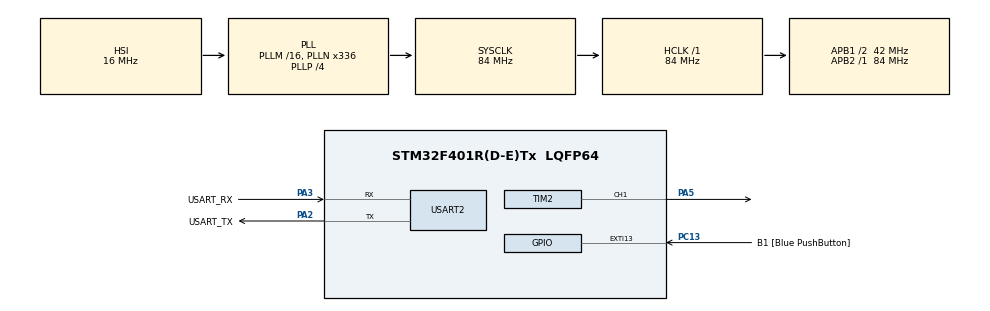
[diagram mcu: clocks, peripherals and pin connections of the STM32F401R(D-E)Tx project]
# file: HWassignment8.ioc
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Mcu.Family=STM32F4
Mcu.Name=STM32F401R(D-E)Tx
Mcu.Package=LQFP64
NVIC.PriorityGroup=NVIC_PRIORITYGROUP_0
PA13.GPIO_Label=TMS
PA13.Mode=Serial_Wire
PA13.Signal=SYS_JTMS-SWDIO
PA14.GPIO_Label=TCK
PA14.Mode=Serial_Wire
PA14.Signal=SYS_JTCK-SWCLK
PA2.GPIO_Label=USART_TX
PA2.GPIO_Mode=GPIO_MODE_AF_PP
PA2.GPIO_PuPd=GPIO_NOPULL
PA2.GPIO_Speed=GPIO_SPEED_FREQ_LOW
PA2.Mode=Asynchronous
PA2.Signal=USART2_TX
PA3.GPIO_Label=USART_RX
PA3.GPIO_Mode=GPIO_MODE_AF_PP
PA3.GPIO_PuPd=GPIO_NOPULL
PA3.GPIO_Speed=GPIO_SPEED_FREQ_LOW
PA3.Mode=Asynchronous
PA3.Signal=USART2_RX
PA5.Signal=S_TIM2_CH1_ETR
PB3.GPIO_Label=SWO
PB3.Signal=SYS_JTDO-SWO
PC13-ANTI_TAMP.GPIO_Label=B1 [Blue PushButton]
PC13-ANTI_TAMP.GPIO_ModeDefaultEXTI=GPIO_MODE_IT_FALLING
PC13-ANTI_TAMP.GPIO_PuPd=GPIO_NOPULL
PC13-ANTI_TAMP.Signal=GPXTI13
PC14-OSC32_IN.Mode=LSE-External-Oscillator
PC14-OSC32_IN.Signal=RCC_OSC32_IN
PC15-OSC32_OUT.Mode=LSE-External-Oscillator
PC15-OSC32_OUT.Signal=RCC_OSC32_OUT
PH0\ -\ OSC_IN.Mode=HSE-External-Clock-Source
PH0\ -\ OSC_IN.Signal=RCC_OSC_IN
PH1\ -\ OSC_OUT.Mode=HSE-External-Clock-Source
PH1\ -\ OSC_OUT.Signal=RCC_OSC_OUT
ProjectManager.HeapSize=0x200
ProjectManager.StackSize=0x400
ProjectManager.TargetToolchain=EWARM V8.32
RCC.48MHZClocksFreq_Value=48000000
RCC.AHBFreq_Value=84000000
RCC.APB1CLKDivider=RCC_HCLK_DIV2
RCC.APB1Freq_Value=42000000
RCC.APB1TimFreq_Value=84000000
RCC.APB2Freq_Value=84000000
RCC.APB2TimFreq_Value=84000000
RCC.CortexFreq_Value=84000000
RCC.HCLKFreq_Value=84000000
RCC.HSE_VALUE=8000000
RCC.HSI_VALUE=16000000
RCC.PLLN=336
RCC.PLLP=RCC_PLLP_DIV4
RCC.PLLQ=7
RCC.SYSCLKFreq_VALUE=84000000
RCC.SYSCLKSource=RCC_SYSCLKSOURCE_PLLCLK
RCC.VCOOutputFreq_Value=336000000
SH.S_TIM2_CH1_ETR.0=TIM2_CH1,PWM Generation1 CH1
TIM2.Channel-PWM\ Generation1\ CH1=TIM_CHANNEL_1
TIM2.Period=2000-1
TIM2.Prescaler=1060-1
TIM4.Period=2000-1
TIM4.Prescaler=1080-1
USART2.VirtualMode=VM_ASYNC
VP_TIM4_VS_OPM.Mode=OPM_bit
board=NUCLEO-F401RE

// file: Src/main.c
/* USER CODE BEGIN Header */
/**
  ******************************************************************************
  * @file           : main.c
  * @brief          : Main program body
  ******************************************************************************
  * @attention
  *
  * <h2><center>&copy; Copyright (c) 2019 STMicroelectronics.
  * All rights reserved.</center></h2>
  *
  * This software component is licensed by ST under BSD 3-Clause license,
  * the "License"; You may not use this file except in compliance with the
  * License. You may obtain a copy of the License at:
  *                        opensource.org/licenses/BSD-3-Clause
  *
  ******************************************************************************
  */
/* USER CODE END Header */

#include "main.h"

TIM_HandleTypeDef htim2;
TIM_HandleTypeDef htim4;

UART_HandleTypeDef huart2;

void SystemClock_Config(void);
static void MX_GPIO_Init(void);
static void MX_TIM4_Init(void);
static void MX_USART2_UART_Init(void);
static void MX_TIM2_Init(void);
/* USER CODE BEGIN PFP */
void user_pwm_setvalue(uint16_t value);
/* USER CODE END PFP */

int main(void)
{

  /* MCU Configuration--------------------------------------------------------*/

  /* Reset of all peripherals, Initializes the Flash interface and the Systick. */
  HAL_Init();

  /* USER CODE BEGIN Init */
    int pwm_value = 0;
    int step = 0;
  /* USER CODE END Init */

  /* Configure the system clock */
  SystemClock_Config();

  /* Initialize all configured peripherals */
  MX_GPIO_Init();
  MX_TIM4_Init();
  MX_USART2_UART_Init();
  MX_TIM2_Init();
  /* USER CODE BEGIN 2 */
  HAL_TIM_PWM_Start(&htim2, TIM_CHANNEL_1);
  /* USER CODE END 2 */

  /* Infinite loop */
  while (1)
  {

    /* USER CODE BEGIN 3 */
        HAL_Delay(100);
        if(pwm_value == 0) step = 100;
        if(pwm_value == 2000) step = -100;
        pwm_value += step;
        user_pwm_setvalue(pwm_value);
    }
  /* USER CODE END 3 */
}

void SystemClock_Config(void)
{
  RCC_OscInitTypeDef RCC_OscInitStruct = {0};
  RCC_ClkInitTypeDef RCC_ClkInitStruct = {0};

  /** Configure the main internal regulator output voltage
  */
  __HAL_RCC_PWR_CLK_ENABLE();
  __HAL_PWR_VOLTAGESCALING_CONFIG(PWR_REGULATOR_VOLTAGE_SCALE2);
  /** Initializes the CPU, AHB and APB busses clocks
  */
  RCC_OscInitStruct.OscillatorType = RCC_OSCILLATORTYPE_HSI;
  RCC_OscInitStruct.HSIState = RCC_HSI_ON;
  RCC_OscInitStruct.HSICalibrationValue = RCC_HSICALIBRATION_DEFAULT;
  RCC_OscInitStruct.PLL.PLLState = RCC_PLL_ON;
  RCC_OscInitStruct.PLL.PLLSource = RCC_PLLSOURCE_HSI;
  RCC_OscInitStruct.PLL.PLLM = 16;
  RCC_OscInitStruct.PLL.PLLN = 336;
  RCC_OscInitStruct.PLL.PLLP = RCC_PLLP_DIV4;
  RCC_OscInitStruct.PLL.PLLQ = 7;
  if (HAL_RCC_OscConfig(&RCC_OscInitStruct) != HAL_OK)
  {
    Error_Handler();
  }
  /** Initializes the CPU, AHB and APB busses clocks
  */
  RCC_ClkInitStruct.ClockType = RCC_CLOCKTYPE_HCLK|RCC_CLOCKTYPE_SYSCLK
                              |RCC_CLOCKTYPE_PCLK1|RCC_CLOCKTYPE_PCLK2;
  RCC_ClkInitStruct.SYSCLKSource = RCC_SYSCLKSOURCE_PLLCLK;
  RCC_ClkInitStruct.AHBCLKDivider = RCC_SYSCLK_DIV1;
  RCC_ClkInitStruct.APB1CLKDivider = RCC_HCLK_DIV2;
  RCC_ClkInitStruct.APB2CLKDivider = RCC_HCLK_DIV1;

  if (HAL_RCC_ClockConfig(&RCC_ClkInitStruct, FLASH_LATENCY_2) != HAL_OK)
  {
    Error_Handler();
  }
}

static void MX_TIM2_Init(void)
{

  TIM_MasterConfigTypeDef sMasterConfig = {0};
  TIM_OC_InitTypeDef sConfigOC = {0};

  htim2.Instance = TIM2;
  htim2.Init.Prescaler = 1060-1;
  htim2.Init.CounterMode = TIM_COUNTERMODE_UP;
  htim2.Init.Period = 750-1;
  htim2.Init.ClockDivision = TIM_CLOCKDIVISION_DIV1;
  htim2.Init.AutoReloadPreload = TIM_AUTORELOAD_PRELOAD_DISABLE;
  if (HAL_TIM_PWM_Init(&htim2) != HAL_OK)
  {
    Error_Handler();
  }
  sMasterConfig.MasterOutputTrigger = TIM_TRGO_RESET;
  sMasterConfig.MasterSlaveMode = TIM_MASTERSLAVEMODE_DISABLE;
  if (HAL_TIMEx_MasterConfigSynchronization(&htim2, &sMasterConfig) != HAL_OK)
  {
    Error_Handler();
  }
  sConfigOC.OCMode = TIM_OCMODE_PWM1;
  sConfigOC.Pulse = 0;
  sConfigOC.OCPolarity = TIM_OCPOLARITY_HIGH;
  sConfigOC.OCFastMode = TIM_OCFAST_DISABLE;
  if (HAL_TIM_PWM_ConfigChannel(&htim2, &sConfigOC, TIM_CHANNEL_1) != HAL_OK)
  {
    Error_Handler();
  }
  HAL_TIM_MspPostInit(&htim2);

}

static void MX_TIM4_Init(void)
{

  htim4.Instance = TIM4;
  htim4.Init.Prescaler = 1080-1;
  htim4.Init.CounterMode = TIM_COUNTERMODE_UP;
  htim4.Init.Period = 2000-1;
  htim4.Init.ClockDivision = TIM_CLOCKDIVISION_DIV1;
  htim4.Init.AutoReloadPreload = TIM_AUTORELOAD_PRELOAD_DISABLE;
  if (HAL_TIM_OnePulse_Init(&htim4, TIM_OPMODE_SINGLE) != HAL_OK)
  {
    Error_Handler();
  }

}

static void MX_USART2_UART_Init(void)
{

  huart2.Instance = USART2;
  huart2.Init.BaudRate = 115200;
  huart2.Init.WordLength = UART_WORDLENGTH_8B;
  huart2.Init.StopBits = UART_STOPBITS_1;
  huart2.Init.Parity = UART_PARITY_NONE;
  huart2.Init.Mode = UART_MODE_TX_RX;
  huart2.Init.HwFlowCtl = UART_HWCONTROL_NONE;
  huart2.Init.OverSampling = UART_OVERSAMPLING_16;
  if (HAL_UART_Init(&huart2) != HAL_OK)
  {
    Error_Handler();
  }

}

static void MX_GPIO_Init(void)
{
  GPIO_InitTypeDef GPIO_InitStruct = {0};

  /* GPIO Ports Clock Enable */
  __HAL_RCC_GPIOC_CLK_ENABLE();
  __HAL_RCC_GPIOH_CLK_ENABLE();
  __HAL_RCC_GPIOA_CLK_ENABLE();
  __HAL_RCC_GPIOB_CLK_ENABLE();

  /*Configure GPIO pin : B1_Pin */
  GPIO_InitStruct.Pin = B1_Pin;
  GPIO_InitStruct.Mode = GPIO_MODE_IT_FALLING;
  GPIO_InitStruct.Pull = GPIO_NOPULL;
  HAL_GPIO_Init(B1_GPIO_Port, &GPIO_InitStruct);

}

/* USER CODE BEGIN 4 */
void user_pwm_setvalue(uint16_t value)
{
    TIM_OC_InitTypeDef sConfigOC;

    sConfigOC.OCMode = TIM_OCMODE_PWM1;
    sConfigOC.Pulse = value;
    sConfigOC.OCPolarity = TIM_OCPOLARITY_HIGH;
    sConfigOC.OCFastMode = TIM_OCFAST_DISABLE;
    HAL_TIM_PWM_ConfigChannel(&htim2, &sConfigOC, TIM_CHANNEL_1);
    HAL_TIM_PWM_Start(&htim2, TIM_CHANNEL_1);
}
/* USER CODE END 4 */

void Error_Handler(void)
{
}

/************************ (C) COPYRIGHT STMicroelectronics *****END OF FILE****/
